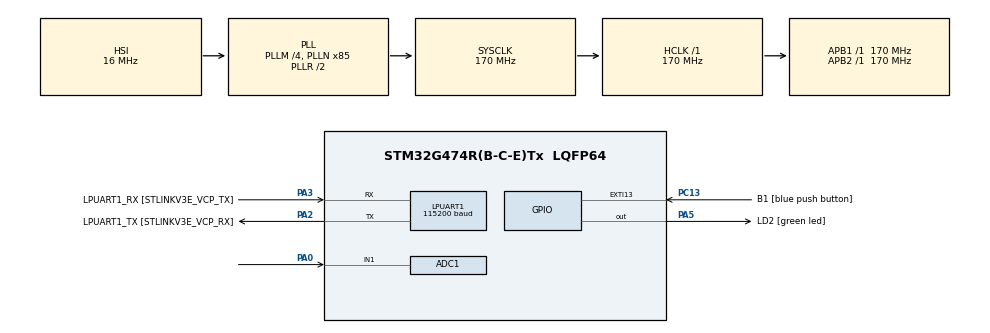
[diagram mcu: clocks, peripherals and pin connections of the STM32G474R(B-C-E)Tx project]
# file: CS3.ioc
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ADC1.Channel-0\#ChannelRegularConversion=ADC_CHANNEL_1
ADC1.DMAContinuousRequests=ENABLE
ADC1.ExternalTrigConv=ADC_EXTERNALTRIG_T3_TRGO
ADC1.NbrOfConversionFlag=1
ADC1.OffsetNumber-0\#ChannelRegularConversion=ADC_OFFSET_NONE
ADC1.Rank-0\#ChannelRegularConversion=1
ADC1.SamplingTime-0\#ChannelRegularConversion=ADC_SAMPLETIME_2CYCLES_5
ADC1.master=1
Dma.ADC1.0.Direction=DMA_PERIPH_TO_MEMORY
Dma.ADC1.0.EventEnable=DISABLE
Dma.ADC1.0.Instance=DMA1_Channel1
Dma.ADC1.0.MemDataAlignment=DMA_MDATAALIGN_HALFWORD
Dma.ADC1.0.MemInc=DMA_MINC_ENABLE
Dma.ADC1.0.Mode=DMA_CIRCULAR
Dma.ADC1.0.PeriphDataAlignment=DMA_PDATAALIGN_HALFWORD
Dma.ADC1.0.PeriphInc=DMA_PINC_DISABLE
Dma.ADC1.0.Polarity=HAL_DMAMUX_REQ_GEN_RISING
Dma.ADC1.0.Priority=DMA_PRIORITY_LOW
Dma.ADC1.0.RequestNumber=1
Dma.ADC1.0.SignalID=NONE
Dma.ADC1.0.SyncEnable=DISABLE
Dma.ADC1.0.SyncPolarity=HAL_DMAMUX_SYNC_NO_EVENT
Dma.ADC1.0.SyncRequestNumber=1
Dma.ADC1.0.SyncSignalID=NONE
Dma.Request0=ADC1
LPUART1.BaudRate=115200
LPUART1.WordLength=UART_WORDLENGTH_8B
Mcu.Family=STM32G4
Mcu.Name=STM32G474R(B-C-E)Tx
Mcu.Package=LQFP64
NVIC.DMA1_Channel1_IRQn=true\:0\:0\:false\:false\:true\:false\:true\:true
NVIC.EXTI15_10_IRQn=true\:0\:0\:false\:false\:true\:true\:true\:true
NVIC.PriorityGroup=NVIC_PRIORITYGROUP_4
NVIC.TIM2_IRQn=true\:0\:0\:false\:false\:true\:true\:true\:true
NVIC.TIM3_IRQn=true\:0\:0\:false\:false\:true\:true\:true\:true
PA0.Mode=IN1-Single-Ended
PA0.Signal=ADC1_IN1
PA13.GPIO_Label=T_SWDIO
PA13.Mode=Serial_Wire
PA13.Signal=SYS_JTMS-SWDIO
PA14.GPIO_Label=T_SWCLK
PA14.Mode=Serial_Wire
PA14.Signal=SYS_JTCK-SWCLK
PA2.GPIO_Label=LPUART1_TX [STLINKV3E_VCP_RX]
PA2.Mode=Asynchronous
PA2.Signal=LPUART1_TX
PA3.GPIO_Label=LPUART1_RX [STLINKV3E_VCP_TX]
PA3.Mode=Asynchronous
PA3.Signal=LPUART1_RX
PA5.GPIO_Label=LD2 [green led]
PA5.Signal=GPIO_Output
PB3.GPIO_Label=T_SWO
PB3.Signal=SYS_JTDO-SWO
PC13.GPIO_Label=B1 [blue push button]
PC13.Signal=GPXTI13
PC14-OSC32_IN.Mode=LSE-External-Oscillator
PC14-OSC32_IN.Signal=RCC_OSC32_IN
PC15-OSC32_OUT.Mode=LSE-External-Oscillator
PC15-OSC32_OUT.Signal=RCC_OSC32_OUT
PF0-OSC_IN.Mode=HSE-External-Oscillator
PF0-OSC_IN.Signal=RCC_OSC_IN
PF1-OSC_OUT.Mode=HSE-External-Oscillator
PF1-OSC_OUT.Signal=RCC_OSC_OUT
ProjectManager.HeapSize=0x200
ProjectManager.StackSize=0x400
ProjectManager.TargetToolchain=STM32CubeIDE
RCC.ADC12Freq_Value=170000000
RCC.ADC345Freq_Value=170000000
RCC.AHBFreq_Value=170000000
RCC.APB1Freq_Value=170000000
RCC.APB1TimFreq_Value=170000000
RCC.APB2Freq_Value=170000000
RCC.APB2TimFreq_Value=170000000
RCC.CortexFreq_Value=170000000
RCC.EXTERNAL_CLOCK_VALUE=12288000
RCC.HCLKFreq_Value=170000000
RCC.HSE_VALUE=24000000
RCC.HSI48_VALUE=48000000
RCC.HSI_VALUE=16000000
RCC.PLLM=RCC_PLLM_DIV4
RCC.PLLN=85
RCC.RTCClockSelection=RCC_RTCCLKSOURCE_LSE
RCC.SYSCLKFreq_VALUE=170000000
RCC.SYSCLKSource=RCC_SYSCLKSOURCE_PLLCLK
RCC.USBFreq_Value=170000000
RCC.VCOOutputFreq_Value=340000000
TIM2.Prescaler=169
TIM3.PeriodNoDither=19999
TIM3.Prescaler=16999
TIM3.TIM_MasterOutputTrigger=TIM_TRGO_UPDATE
VP_SYS_VS_DBSignals.Mode=DisableDeadBatterySignals
VP_TIM2_VS_ClockSourceINT.Mode=Internal
VP_TIM3_VS_ClockSourceINT.Mode=Internal
board=NUCLEO-G474RE

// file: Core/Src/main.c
/* USER CODE BEGIN Header */
/**
  ******************************************************************************
  * @file           : main.c
  * @brief          : Main program body
  ******************************************************************************
  * @attention
  *
  * Copyright (c) 2025 STMicroelectronics.
  * All rights reserved.
  *
  * This software is licensed under terms that can be found in the LICENSE file
  * in the root directory of this software component.
  * If no LICENSE file comes with this software, it is provided AS-IS.
  *
  ******************************************************************************
  */
/* USER CODE END Header */
#include "main.h"

ADC_HandleTypeDef hadc1;
DMA_HandleTypeDef hdma_adc1;

UART_HandleTypeDef hlpuart1;

TIM_HandleTypeDef htim2;
TIM_HandleTypeDef htim3;

/* USER CODE BEGIN PV */
uint64_t TimeValue;
uint32_t currentTimerValue;
uint32_t currentOverflowCnt;
uint32_t microsOverflowCnt;
/* USER CODE END PV */

void SystemClock_Config(void);
static void MX_GPIO_Init(void);
static void MX_DMA_Init(void);
static void MX_LPUART1_UART_Init(void);
static void MX_TIM2_Init(void);
static void MX_ADC1_Init(void);
static void MX_TIM3_Init(void);
/* USER CODE BEGIN PFP */
void ReadTimeValue();
/* USER CODE END PFP */

int main(void)
{

  /* MCU Configuration--------------------------------------------------------*/

  /* Reset of all peripherals, Initializes the Flash interface and the Systick. */
  HAL_Init();

  /* Configure the system clock */
  SystemClock_Config();

  /* Initialize all configured peripherals */
  MX_GPIO_Init();
  MX_DMA_Init();
  MX_LPUART1_UART_Init();
  MX_TIM2_Init();
  MX_ADC1_Init();
  MX_TIM3_Init();
  /* USER CODE BEGIN 2 */
  HAL_TIM_Base_Start_IT(&htim2);
  /* USER CODE END 2 */

  /* Infinite loop */
  while (1)
  {

    /* USER CODE BEGIN 3 */
	  ReadTimeValue();

  }
  /* USER CODE END 3 */
}

void SystemClock_Config(void)
{
  RCC_OscInitTypeDef RCC_OscInitStruct = {0};
  RCC_ClkInitTypeDef RCC_ClkInitStruct = {0};

  /** Configure the main internal regulator output voltage
  */
  HAL_PWREx_ControlVoltageScaling(PWR_REGULATOR_VOLTAGE_SCALE1_BOOST);

  /** Initializes the RCC Oscillators according to the specified parameters
  * in the RCC_OscInitTypeDef structure.
  */
  RCC_OscInitStruct.OscillatorType = RCC_OSCILLATORTYPE_HSI;
  RCC_OscInitStruct.HSIState = RCC_HSI_ON;
  RCC_OscInitStruct.HSICalibrationValue = RCC_HSICALIBRATION_DEFAULT;
  RCC_OscInitStruct.PLL.PLLState = RCC_PLL_ON;
  RCC_OscInitStruct.PLL.PLLSource = RCC_PLLSOURCE_HSI;
  RCC_OscInitStruct.PLL.PLLM = RCC_PLLM_DIV4;
  RCC_OscInitStruct.PLL.PLLN = 85;
  RCC_OscInitStruct.PLL.PLLP = RCC_PLLP_DIV2;
  RCC_OscInitStruct.PLL.PLLQ = RCC_PLLQ_DIV2;
  RCC_OscInitStruct.PLL.PLLR = RCC_PLLR_DIV2;
  if (HAL_RCC_OscConfig(&RCC_OscInitStruct) != HAL_OK)
  {
    Error_Handler();
  }

  /** Initializes the CPU, AHB and APB buses clocks
  */
  RCC_ClkInitStruct.ClockType = RCC_CLOCKTYPE_HCLK|RCC_CLOCKTYPE_SYSCLK
                              |RCC_CLOCKTYPE_PCLK1|RCC_CLOCKTYPE_PCLK2;
  RCC_ClkInitStruct.SYSCLKSource = RCC_SYSCLKSOURCE_PLLCLK;
  RCC_ClkInitStruct.AHBCLKDivider = RCC_SYSCLK_DIV1;
  RCC_ClkInitStruct.APB1CLKDivider = RCC_HCLK_DIV1;
  RCC_ClkInitStruct.APB2CLKDivider = RCC_HCLK_DIV1;

  if (HAL_RCC_ClockConfig(&RCC_ClkInitStruct, FLASH_LATENCY_4) != HAL_OK)
  {
    Error_Handler();
  }
}

static void MX_ADC1_Init(void)
{

  ADC_MultiModeTypeDef multimode = {0};
  ADC_ChannelConfTypeDef sConfig = {0};

  /** Common config
  */
  hadc1.Instance = ADC1;
  hadc1.Init.ClockPrescaler = ADC_CLOCK_SYNC_PCLK_DIV4;
  hadc1.Init.Resolution = ADC_RESOLUTION_12B;
  hadc1.Init.DataAlign = ADC_DATAALIGN_RIGHT;
  hadc1.Init.GainCompensation = 0;
  hadc1.Init.ScanConvMode = ADC_SCAN_DISABLE;
  hadc1.Init.EOCSelection = ADC_EOC_SINGLE_CONV;
  hadc1.Init.LowPowerAutoWait = DISABLE;
  hadc1.Init.ContinuousConvMode = DISABLE;
  hadc1.Init.NbrOfConversion = 1;
  hadc1.Init.DiscontinuousConvMode = DISABLE;
  hadc1.Init.ExternalTrigConv = ADC_EXTERNALTRIG_T3_TRGO;
  hadc1.Init.ExternalTrigConvEdge = ADC_EXTERNALTRIGCONVEDGE_RISING;
  hadc1.Init.DMAContinuousRequests = ENABLE;
  hadc1.Init.Overrun = ADC_OVR_DATA_PRESERVED;
  hadc1.Init.OversamplingMode = DISABLE;
  if (HAL_ADC_Init(&hadc1) != HAL_OK)
  {
    Error_Handler();
  }

  /** Configure the ADC multi-mode
  */
  multimode.Mode = ADC_MODE_INDEPENDENT;
  if (HAL_ADCEx_MultiModeConfigChannel(&hadc1, &multimode) != HAL_OK)
  {
    Error_Handler();
  }

  /** Configure Regular Channel
  */
  sConfig.Channel = ADC_CHANNEL_1;
  sConfig.Rank = ADC_REGULAR_RANK_1;
  sConfig.SamplingTime = ADC_SAMPLETIME_2CYCLES_5;
  sConfig.SingleDiff = ADC_SINGLE_ENDED;
  sConfig.OffsetNumber = ADC_OFFSET_NONE;
  sConfig.Offset = 0;
  if (HAL_ADC_ConfigChannel(&hadc1, &sConfig) != HAL_OK)
  {
    Error_Handler();
  }

}

static void MX_LPUART1_UART_Init(void)
{

  hlpuart1.Instance = LPUART1;
  hlpuart1.Init.BaudRate = 115200;
  hlpuart1.Init.WordLength = UART_WORDLENGTH_8B;
  hlpuart1.Init.StopBits = UART_STOPBITS_1;
  hlpuart1.Init.Parity = UART_PARITY_NONE;
  hlpuart1.Init.Mode = UART_MODE_TX_RX;
  hlpuart1.Init.HwFlowCtl = UART_HWCONTROL_NONE;
  hlpuart1.Init.OneBitSampling = UART_ONE_BIT_SAMPLE_DISABLE;
  hlpuart1.Init.ClockPrescaler = UART_PRESCALER_DIV1;
  hlpuart1.AdvancedInit.AdvFeatureInit = UART_ADVFEATURE_NO_INIT;
  if (HAL_UART_Init(&hlpuart1) != HAL_OK)
  {
    Error_Handler();
  }
  if (HAL_UARTEx_SetTxFifoThreshold(&hlpuart1, UART_TXFIFO_THRESHOLD_1_8) != HAL_OK)
  {
    Error_Handler();
  }
  if (HAL_UARTEx_SetRxFifoThreshold(&hlpuart1, UART_RXFIFO_THRESHOLD_1_8) != HAL_OK)
  {
    Error_Handler();
  }
  if (HAL_UARTEx_DisableFifoMode(&hlpuart1) != HAL_OK)
  {
    Error_Handler();
  }

}

static void MX_TIM2_Init(void)
{

  TIM_ClockConfigTypeDef sClockSourceConfig = {0};
  TIM_MasterConfigTypeDef sMasterConfig = {0};

  htim2.Instance = TIM2;
  htim2.Init.Prescaler = 169;
  htim2.Init.CounterMode = TIM_COUNTERMODE_UP;
  htim2.Init.Period = 4.294967295E9;
  htim2.Init.ClockDivision = TIM_CLOCKDIVISION_DIV1;
  htim2.Init.AutoReloadPreload = TIM_AUTORELOAD_PRELOAD_DISABLE;
  if (HAL_TIM_Base_Init(&htim2) != HAL_OK)
  {
    Error_Handler();
  }
  sClockSourceConfig.ClockSource = TIM_CLOCKSOURCE_INTERNAL;
  if (HAL_TIM_ConfigClockSource(&htim2, &sClockSourceConfig) != HAL_OK)
  {
    Error_Handler();
  }
  sMasterConfig.MasterOutputTrigger = TIM_TRGO_RESET;
  sMasterConfig.MasterSlaveMode = TIM_MASTERSLAVEMODE_DISABLE;
  if (HAL_TIMEx_MasterConfigSynchronization(&htim2, &sMasterConfig) != HAL_OK)
  {
    Error_Handler();
  }

}

static void MX_TIM3_Init(void)
{

  TIM_ClockConfigTypeDef sClockSourceConfig = {0};
  TIM_MasterConfigTypeDef sMasterConfig = {0};

  htim3.Instance = TIM3;
  htim3.Init.Prescaler = 16999;
  htim3.Init.CounterMode = TIM_COUNTERMODE_UP;
  htim3.Init.Period = 19999;
  htim3.Init.ClockDivision = TIM_CLOCKDIVISION_DIV1;
  htim3.Init.AutoReloadPreload = TIM_AUTORELOAD_PRELOAD_DISABLE;
  if (HAL_TIM_Base_Init(&htim3) != HAL_OK)
  {
    Error_Handler();
  }
  sClockSourceConfig.ClockSource = TIM_CLOCKSOURCE_INTERNAL;
  if (HAL_TIM_ConfigClockSource(&htim3, &sClockSourceConfig) != HAL_OK)
  {
    Error_Handler();
  }
  sMasterConfig.MasterOutputTrigger = TIM_TRGO_UPDATE;
  sMasterConfig.MasterSlaveMode = TIM_MASTERSLAVEMODE_DISABLE;
  if (HAL_TIMEx_MasterConfigSynchronization(&htim3, &sMasterConfig) != HAL_OK)
  {
    Error_Handler();
  }

}

static void MX_DMA_Init(void)
{

  /* DMA controller clock enable */
  __HAL_RCC_DMAMUX1_CLK_ENABLE();
  __HAL_RCC_DMA1_CLK_ENABLE();

  /* DMA interrupt init */
  /* DMA1_Channel1_IRQn interrupt configuration */
  HAL_NVIC_SetPriority(DMA1_Channel1_IRQn, 0, 0);
  HAL_NVIC_EnableIRQ(DMA1_Channel1_IRQn);

}

static void MX_GPIO_Init(void)
{
  GPIO_InitTypeDef GPIO_InitStruct = {0};

  /* GPIO Ports Clock Enable */
  __HAL_RCC_GPIOC_CLK_ENABLE();
  __HAL_RCC_GPIOF_CLK_ENABLE();
  __HAL_RCC_GPIOA_CLK_ENABLE();
  __HAL_RCC_GPIOB_CLK_ENABLE();

  /*Configure GPIO pin Output Level */
  HAL_GPIO_WritePin(LD2_GPIO_Port, LD2_Pin, GPIO_PIN_RESET);

  /*Configure GPIO pin : B1_Pin */
  GPIO_InitStruct.Pin = B1_Pin;
  GPIO_InitStruct.Mode = GPIO_MODE_IT_RISING;
  GPIO_InitStruct.Pull = GPIO_NOPULL;
  HAL_GPIO_Init(B1_GPIO_Port, &GPIO_InitStruct);

  /*Configure GPIO pin : LD2_Pin */
  GPIO_InitStruct.Pin = LD2_Pin;
  GPIO_InitStruct.Mode = GPIO_MODE_OUTPUT_PP;
  GPIO_InitStruct.Pull = GPIO_NOPULL;
  GPIO_InitStruct.Speed = GPIO_SPEED_FREQ_LOW;
  HAL_GPIO_Init(LD2_GPIO_Port, &GPIO_InitStruct);

  /* EXTI interrupt init*/
  HAL_NVIC_SetPriority(EXTI15_10_IRQn, 0, 0);
  HAL_NVIC_EnableIRQ(EXTI15_10_IRQn);

}

/* USER CODE BEGIN 4 */
void HAL_TIM_PeriodElapsedCallback(TIM_HandleTypeDef *htim)
{
	if(htim == &htim2)
	{
		microsOverflowCnt++;
	}
}

void ReadTimeValue()
{
	// Disable interrupts temporarily
	__disable_irq();
	//read timer and overflow counter
	currentTimerValue = __HAL_TIM_GET_COUNTER(&htim2);
	currentOverflowCnt = microsOverflowCnt;
	// Check for overflow during the read
	if (__HAL_TIM_GET_FLAG(&htim2, TIM_FLAG_UPDATE))
	{
	currentTimerValue = __HAL_TIM_GET_COUNTER(&htim2);
	currentOverflowCnt++;
	}
	__enable_irq();

	TimeValue = (4294967295*(currentOverflowCnt-1))+currentTimerValue;
}
/* USER CODE END 4 */

void Error_Handler(void)
{
  __disable_irq();
  while (1)
  {
  }
}
